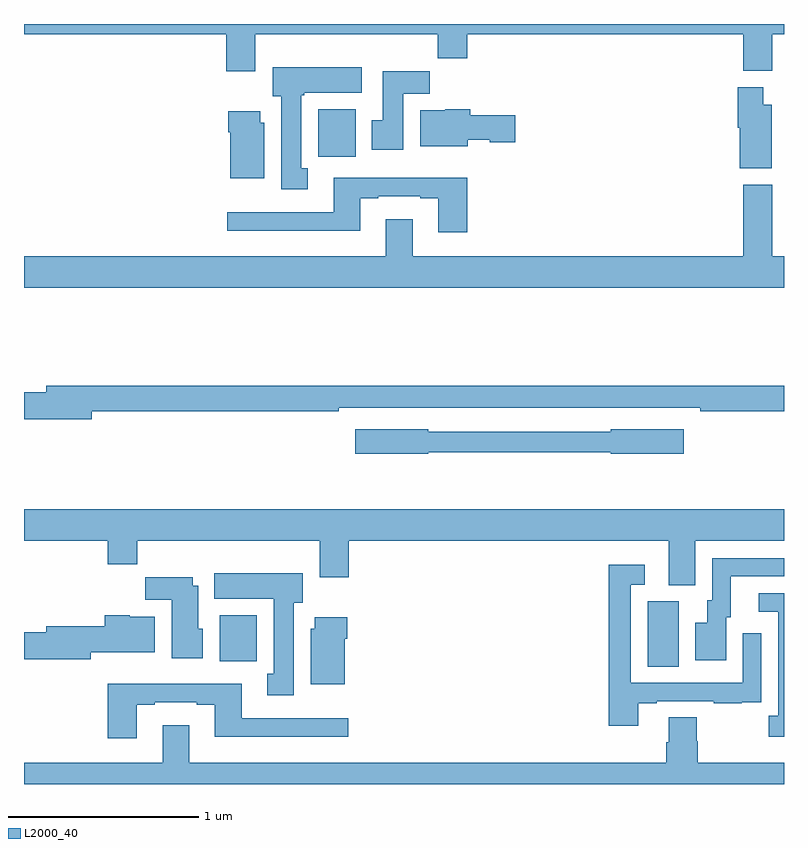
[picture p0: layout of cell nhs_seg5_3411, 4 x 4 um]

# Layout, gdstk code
import gdstk
lib = gdstk.Library(unit=1e-6, precision=1e-09)
def R(c, l, rs):  # rectangles x0, y0, x1, y1
    for r in rs: c.add(gdstk.rectangle(r[:2], r[2:], *l))
def P(c, l, *ps):  # polygons
    for p in ps: c.add(gdstk.Polygon(p, *l))
L2000_40 = (2000, 40)

nhs_seg5_3411 = lib.new_cell('nhs_seg5_3411')
R(nhs_seg5_3411, L2000_40, [(314.282,869.416,314.446,869.76), (312.029,869.444,312.226,869.686), (312.549,872.1,312.745,872.35)])
P(nhs_seg5_3411, L2000_40, [(311,872.744),(312.065,872.744),(312.065,872.55),(312.217,872.55),(312.217,872.744),(313.177,872.744),(313.177,872.62),(313.334,872.62),(313.334,872.744),(314.786,872.744),(314.786,872.552),(314.938,872.552),(314.938,872.744),(315,872.744),(315,872.799),(311,872.799)],
  [(312.493,872.041),(312.46,872.041),(312.46,872.425),(312.474,872.425),(312.474,872.438),(312.778,872.438),(312.778,872.572),(312.308,872.572),(312.308,872.418),(312.353,872.418),(312.353,871.929),(312.493,871.929)],
  [(312.997,872.432),(313.136,872.432),(313.136,872.551),(312.887,872.551),(312.887,872.292),(312.83,872.292),(312.83,872.136),(312.997,872.136)],
  [(314.935,872.374),(314.89,872.374),(314.89,872.467),(314.756,872.467),(314.756,872.253),(314.768,872.253),(314.768,872.039),(314.935,872.039)],
  [(313.336,872.189),(313.452,872.189),(313.452,872.177),(313.585,872.177),(313.585,872.319),(313.349,872.319),(313.349,872.35),(313.218,872.35),(313.218,872.344),(313.085,872.344),(313.085,872.156),(313.336,872.156)],
  [(312.265,872.28),(312.244,872.28),(312.244,872.341),(312.074,872.341),(312.074,872.228),(312.086,872.228),(312.086,871.988),(312.265,871.988)],
  [(313.334,871.99),(312.629,871.99),(312.629,871.809),(312.069,871.809),(312.069,871.712),(312.769,871.712),(312.769,871.881),(312.865,871.881),(312.865,871.893),(313.085,871.893),(313.085,871.881),(313.181,871.881),(313.181,871.704),(313.334,871.704)],
  [(315,871.576),(314.938,871.576),(314.938,871.954),(314.786,871.954),(314.786,871.576),(313.045,871.576),(313.045,871.771),(312.905,871.771),(312.905,871.576),(311,871.576),(311,871.412),(315,871.412)],
  [(311.356,870.76),(312.656,870.76),(312.656,870.78),(314.56,870.78),(314.56,870.76),(315,870.76),(315,870.896),(311.117,870.896),(311.117,870.86),(311,870.86),(311,870.718),(311.356,870.718)],
  [(313.128,870.546),(314.088,870.546),(314.088,870.538),(314.473,870.538),(314.473,870.667),(314.088,870.667),(314.088,870.654),(313.128,870.654),(313.128,870.667),(312.744,870.667),(312.744,870.538),(313.128,870.538)],
  [(314.533,870.08),(315,870.08),(315,870.244),(311,870.244),(311,870.08),(311.441,870.08),(311.441,869.956),(311.597,869.956),(311.597,870.08),(312.557,870.08),(312.557,869.886),(312.71,869.886),(312.71,870.08),(314.393,870.08),(314.393,869.845),(314.533,869.845)],
  [(314.695,869.676),(314.719,869.676),(314.719,869.892),(315,869.892),(315,869.988),(314.622,869.988),(314.622,869.766),(314.597,869.766),(314.597,869.647),(314.534,869.647),(314.534,869.451),(314.695,869.451)],
  [(314.233,869.223),(314.329,869.223),(314.329,869.235),(314.629,869.235),(314.629,869.223),(314.777,869.223),(314.777,869.229),(314.879,869.229),(314.879,869.338),(314.88,869.338),(314.88,869.593),(314.784,869.593),(314.784,869.331),(314.193,869.331),(314.193,869.847),(314.266,869.847),(314.266,869.953),(314.077,869.953),(314.077,869.106),(314.233,869.106)],
  [(312.421,869.754),(312.466,869.754),(312.466,869.908),(312.002,869.908),(312.002,869.774),(312.314,869.774),(312.314,869.378),(312.281,869.378),(312.281,869.265),(312.421,869.265)],
  [(311.941,869.616),(311.917,869.616),(311.917,869.842),(311.887,869.842),(311.887,869.887),(311.638,869.887),(311.638,869.768),(311.777,869.768),(311.777,869.462),(311.941,869.462)],
  [(315,869.802),(314.868,869.802),(314.868,869.706),(314.97,869.706),(314.97,869.158),(314.919,869.158),(314.919,869.048),(315,869.048)],
  [(311.352,869.492),(311.689,869.492),(311.689,869.68),(311.556,869.68),(311.556,869.686),(311.426,869.686),(311.426,869.628),(311.117,869.628),(311.117,869.598),(311,869.598),(311,869.456),(311.352,869.456)],
  [(312.688,869.564),(312.701,869.564),(312.701,869.677),(312.53,869.677),(312.53,869.616),(312.509,869.616),(312.509,869.324),(312.688,869.324)],
  [(311.593,869.217),(311.689,869.217),(311.689,869.229),(311.909,869.229),(311.909,869.217),(312.005,869.217),(312.005,869.048),(312.706,869.048),(312.706,869.145),(312.145,869.145),(312.145,869.326),(311.441,869.326),(311.441,869.04),(311.593,869.04)],
  [(315,868.912),(314.546,868.912),(314.546,869.025),(314.541,869.025),(314.541,869.15),(314.393,869.15),(314.393,869.018),(314.381,869.018),(314.381,868.912),(311.869,868.912),(311.869,869.107),(311.729,869.107),(311.729,868.912),(311,868.912),(311,868.799),(315,868.799)])

lib.write_gds('nhs_seg5_3411.gds')
